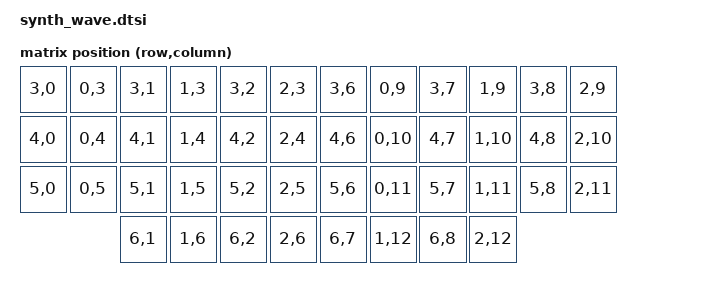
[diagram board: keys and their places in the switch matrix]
/*
 * Copyright (c) 2023 ZMK
 *
 * SPDX-License-Identifier: MIT
 */

#include <dt-bindings/zmk/matrix_transform.h>
&usbd {
    status = "okay";
    cdc_acm_uart: cdc_acm_uart {
        compatible = "zephyr,cdc-acm-uart";
    };
};
#include <dt-bindings/led/led.h>

&pinctrl {
    spi3_default: spi3_default {
        group1 {
            psels = <NRF_PSEL(SPIM_MOSI, 0, 2)>;
        };
    };

    spi3_sleep: spi3_sleep {
        group1 {
            psels = <NRF_PSEL(SPIM_MOSI, 0, 2)>;
            low-power-enable;
        };
    };
};

&spi3 {
  compatible = "nordic,nrf-spim";
  status = "okay";

  pinctrl-0 = <&spi3_default>;
  pinctrl-1 = <&spi3_sleep>;
  pinctrl-names = "default", "sleep";

  led_strip: ws2812@0 {
    compatible = "worldsemi,ws2812-spi";

    /* SPI */
    reg = <0>; /* ignored, but necessary for SPI bindings */
    spi-max-frequency = <4000000>;

    /* WS2812 */
    chain-length = <6; /* number of LEDs */
    spi-one-frame = <0x70>;
    spi-zero-frame = <0x40>;
    color-mapping = <LED_COLOR_ID_GREEN
                          LED_COLOR_ID_RED
                          LED_COLOR_ID_BLUE>;
  };
};

/ {
    chosen {
        zmk,kscan = &kscan0;
        zmk,matrix_transform = &default_transform;
        zmk,underglow = &led_strip;

        /delete-property/ zephyr,console;
        /delete-property/ zephyr,shell-uart;

        zephyr,console = &cdc_acm_uart;
    };

    default_transform: keymap_transform_0 {
        compatible = "zmk,matrix-transform";
        columns = <13>;
        rows = <5>;

        map = <
            RC(3,0) RC(0,3) RC(3,1) RC(1,3) RC(3,2) RC(2,3)      RC(3,6) RC(0,9) RC(3,7) RC(1,9) RC(3,8) RC(2,9)
            RC(4,0) RC(0,4) RC(4,1) RC(1,4) RC(4,2) RC(2,4)      RC(4,6) RC(0,10) RC(4,7) RC(1,10) RC(4,8) RC(2,10)
            RC(5,0) RC(0,5) RC(5,1) RC(1,5) RC(5,2) RC(2,5)      RC(5,6) RC(0,11) RC(5,7) RC(1,11) RC(5,8) RC(2,11)
                            RC(6,1) RC(1,6) RC(6,2) RC(2,6)      RC(6,7) RC(1,12) RC(6,8) RC(2,12)
        >;
    };

    kscan0: kscan_0 {
        compatible = "zmk,kscan-gpio-charlieplex";

        gpios
        = <&pro_micro 7 (GPIO_ACTIVE_HIGH | GPIO_PULL_DOWN)>
        , <&pro_micro 8 (GPIO_ACTIVE_HIGH | GPIO_PULL_DOWN)>
        , <&pro_micro 9 (GPIO_ACTIVE_HIGH | GPIO_PULL_DOWN)>
        , <&pro_micro 10 (GPIO_ACTIVE_HIGH | GPIO_PULL_DOWN)>
        ;
    };

    left_encoder: encoder_left {
        compatible = "alps,ec11";
        steps = <80>;
        status = "disabled";
        label = "encoder_left";
    };
    
    right_encoder: encoder_right {
        compatible = "alps,ec11";
        steps = <80>;
        status = "disabled";
        label = "encoder_right";
    };
};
